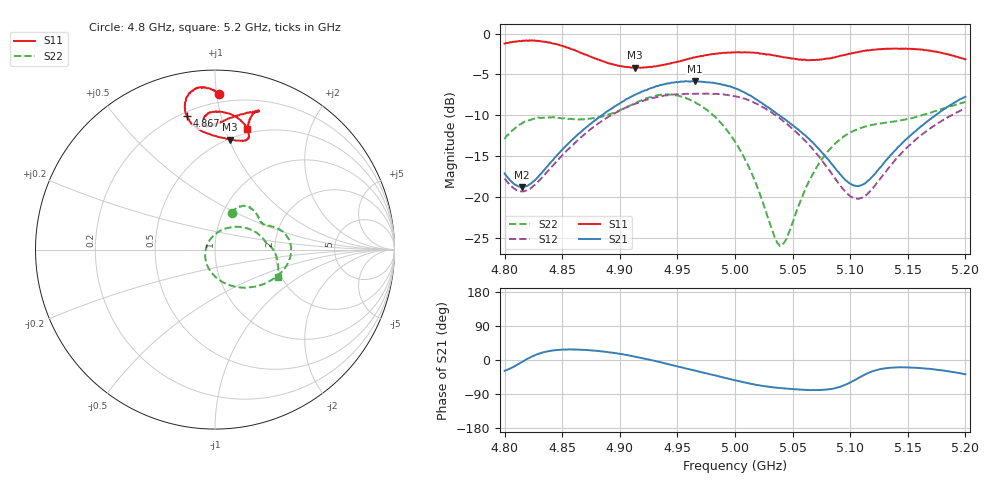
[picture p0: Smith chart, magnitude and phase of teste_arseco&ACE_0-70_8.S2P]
! Network Analyzer HP8722D
! Hewlett-Packard
! Data name: Linha & Wilkinson
! Saver's name: Rodrigo Anjos
! Comments: Teste da utilização de aquisição
! continua pelo VNA HP8722D
! Time and date: 8/5/2025 12:49
!  Frequency  S11  S21  S12  S22
# HZ  S  MA R 50
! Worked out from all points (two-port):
!   401 points, 4.8 GHz to 5.2 GHz, reference 50 ohm
!   highest |S21| = -5.81 dB at 4.965 GHz (marker M1); lowest = -18.8 dB at 4.815 GHz (marker M2)
!   |S21| within 3 dB of the highest: 4.897 GHz to 5.026 GHz (129.4 MHz wide, 2.61 % of centre); 5.1863 GHz to end of sweep
!   lowest |S11| = -4.2 dB at 4.913 GHz (marker M3), VSWR 4.24, Z = 25.5 + j50.5 ohm
!   |S11| at or under -10 dB: nowhere
!   |S22| runs from -26.1 to -7.4 dB; largest |S21 - S12| = 0.88
!   S11 on the Smith chart (normalised r, x): 4.8 GHz: 0.14, +1.01; 4.867 GHz: 0.22, +0.78; 5.2 GHz: 0.46, +1.20
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4.8e9  0.8691 88.7  0.1391 -28.7  0.1295 99.5  0.2249 65.8
4.815e9  0.9008 93.1  0.1146 -5.4  0.1075 119.9  0.2817 58.6
4.825e9  0.9064 96.0  0.1241 10.9  0.1167 135.0  0.3006 52.8
4.845e9  0.8616 100.7  0.1776 26.2  0.1645 150.8  0.3051 40.6
4.867e9  0.759 102.0  0.253 26.8  0.2337 154.7  0.2995 31.1
4.886e9  0.6765 97.5  0.3223 22.3  0.2964 151.8  0.3128 25.8
4.913e9  0.6181 82.1  0.4215 9.2  0.3707 142.6  0.3753 17.6
4.934e9  0.6364 73.9  0.4809 -5.1  0.4121 131.2  0.4202 4.9
4.965e9  0.7158 76.7  0.5122 -28.0  0.4284 111.7  0.3805 -22.0
4.984e9  0.7539 82.2  0.4953 -41.6  0.4272 99.3  0.3026 -43.0
5e9  0.7686 87.5  0.4622 -53.7  0.4142 87.9  0.2174 -66.6
5.021e9  0.7567 93.1  0.3845 -66.8  0.3659 73.8  0.1072 -110.9
5.033e9  0.7371 94.8  0.3368 -72.1  0.323 67.0  0.06054 -156.4
5.039e9  0.7228 95.3  0.3135 -73.8  0.3024 64.5  0.04978 167.4
5.045e9  0.7125 95.4  0.2926 -75.7  0.2793 62.3  0.05606 128.9
5.067e9  0.6902 93.1  0.2172 -79.3  0.1979 58.4  0.1355 61.5
5.085e9  0.7137 87.4  0.1561 -75.9  0.1352 64.1  0.2058 36.6
5.104e9  0.7654 79.5  0.1171 -52.7  0.0974 90.1  0.2555 19.9
5.115e9  0.7913 75.6  0.1247 -35.2  0.104 110.1  0.2719 14.0
5.134e9  0.8081 72.6  0.1757 -20.5  0.1518 126.3  0.287 8.1
5.17e9  0.7858 74.4  0.3006 -23.7  0.2642 122.0  0.3282 -1.2
5.2e9  0.6961 75.0  0.4104 -37.7  0.3489 110.6  0.3808 -23.7
